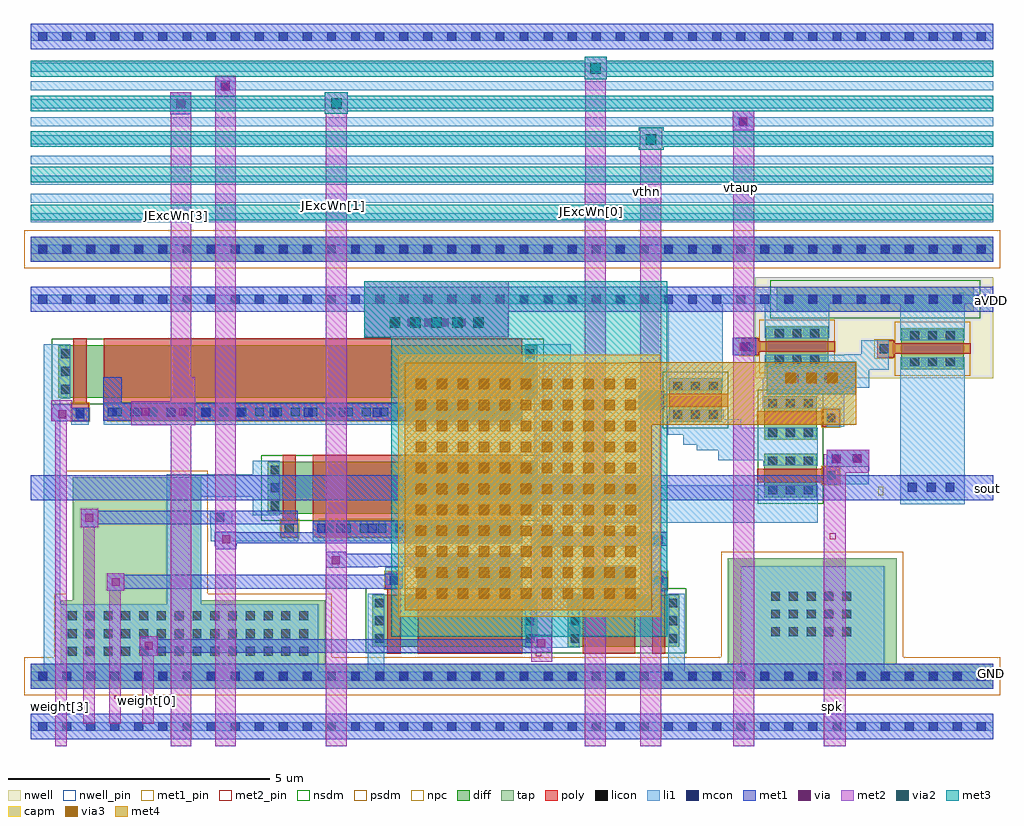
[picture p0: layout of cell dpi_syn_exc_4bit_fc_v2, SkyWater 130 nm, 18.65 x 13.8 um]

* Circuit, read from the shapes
.subckt dpi_syn_exc_4bit_fc_v2 GND JExcWn[0] JExcWn[1] JExcWn[2] JExcWn[3] aVDD sout spk vtaup vthn weight[0] weight[1] weight[2] weight[3]
XM1 n1 weight[3] GND GND sky130_fd_pr__nfet_01v8 w=1 l=0.25
XM2 n2 JExcWn[3] n1 GND sky130_fd_pr__nfet_01v8 w=1 l=8
XM3 n3 weight[2] GND GND sky130_fd_pr__nfet_01v8 w=1 l=0.25
XM4 n2 JExcWn[2] n3 GND sky130_fd_pr__nfet_01v8 w=1 l=4
XM5 n4 weight[1] GND GND sky130_fd_pr__nfet_01v8 w=1 l=0.25
XM6 n2 JExcWn[1] n4 GND sky130_fd_pr__nfet_01v8 w=1 l=2
XM7 n5 JExcWn[0] n2 GND sky130_fd_pr__nfet_01v8 w=1 l=1
XM8 GND weight[0] n5 GND sky130_fd_pr__nfet_01v8 w=1 l=0.25
XM9 aVDD vthn n6 GND sky130_fd_pr__nfet_01v8 w=1 l=0.25
XM10 n6 spk n2 GND sky130_fd_pr__nfet_01v8 w=1 l=0.25
XM11 n7 n7 n6 GND sky130_fd_pr__nfet_01v8 w=1 l=0.25
XM12 aVDD vtaup n7 aVDD sky130_fd_pr__pfet_01v8 w=1.2 l=0.2
XM13 aVDD n7 sout aVDD sky130_fd_pr__pfet_01v8 w=1.2 l=0.2
XC14 n7 aVDD sky130_fd_pr__cap_mim_m3_1 w=5 l=5
.ends

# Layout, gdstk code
import gdstk
lib = gdstk.Library(unit=1e-6, precision=1e-09)
def R(c, l, rs):  # rectangles x0, y0, x1, y1
    for r in rs: c.add(gdstk.rectangle(r[:2], r[2:], *l))
def A(c, l, x, y, w, h, nx, ny, dx, dy):  # array of equal rectangles
    R(c, l, [(x+i*dx, y+j*dy, x+i*dx+w, y+j*dy+h) for i in range(nx) for j in range(ny)])
nwell_pin = (64, 16)
nwell = (64, 20)
diff = (65, 20)
tap = (65, 44)
poly = (66, 20)
licon = (66, 44)
li1 = (67, 20)
mcon = (67, 44)
met1_pin = (68, 16)
met1 = (68, 20)
via = (68, 44)
met2_pin = (69, 16)
met2 = (69, 20)
via2 = (69, 44)
met3 = (70, 20)
via3 = (70, 44)
met4 = (71, 20)
capm = (89, 44)
nsdm = (93, 44)
psdm = (94, 20)
npc = (95, 20)

dpi_syn_exc_4bit_fc_v2_n = lib.new_cell('dpi_syn_exc_4bit_fc_v2_norail')
R(dpi_syn_exc_4bit_fc_v2_n, nwell_pin, [(77.765,-40,77.855,-39.835)])
R(dpi_syn_exc_4bit_fc_v2_n, nwell, [(73.87,-41.475,78.42,-39.545)])
R(dpi_syn_exc_4bit_fc_v2_n, diff, [(66.55,-46.605,69.705,-45.605), (70.285,-46.605,72.42,-45.605), (64.55,-44.065,69.705,-43.065), (74.04,-43.745,75.04,-42.915), (74.04,-42.645,75.04,-41.815), (72.225,-42.305,73.225,-41.475), (60.55,-41.84,69.705,-40.84), (76.655,-41.295,77.855,-40.515), (74.065,-41.255,75.265,-40.475)])
R(dpi_syn_exc_4bit_fc_v2_n, tap, [(60.02,-47.405,78.42,-46.925), (60.6,-46.925,65.65,-45.715), (73.345,-46.925,76.57,-44.91), (60.83,-45.715,63.285,-43.365), (74.28,-40.2,78.045,-39.725)])
R(dpi_syn_exc_4bit_fc_v2_n, poly, [(66.84,-46.735,67.09,-45.495), (67.415,-46.735,69.415,-45.165), (70.575,-46.735,71.575,-45.165), (71.9,-46.735,72.15,-45.495), (66.8,-45.495,67.13,-45.165), (71.86,-45.495,72.19,-45.165), (64.8,-44.505,65.13,-44.175), (65.415,-44.505,69.415,-42.935), (64.84,-44.175,65.09,-42.935), (75.15,-43.495,75.48,-43.455), (73.91,-43.455,75.48,-43.205), (75.15,-43.205,75.48,-43.165), (75.15,-42.395,75.48,-42.355), (73.91,-42.355,75.48,-42.105), (60.8,-42.28,61.13,-41.95), (61.415,-42.28,69.415,-40.71), (75.15,-42.105,75.48,-42.065), (71.785,-42.055,72.115,-42.015), (71.785,-42.015,73.355,-41.765), (60.84,-41.95,61.09,-40.71), (71.785,-41.765,72.115,-41.725), (76.195,-41.075,76.525,-41.005), (73.605,-41.035,73.935,-40.965), (76.195,-41.005,77.985,-40.805), (73.605,-40.965,75.395,-40.765), (76.195,-40.805,76.525,-40.745), (73.605,-40.765,73.935,-40.705)])
A(dpi_syn_exc_4bit_fc_v2_n, licon, 60.165, -47.25, 0.17, 0.17, 40, 1, 0.46, 0)
A(dpi_syn_exc_4bit_fc_v2_n, licon, 60.735, -46.775, 0.17, 0.17, 14, 3, 0.34, 0.34)
A(dpi_syn_exc_4bit_fc_v2_n, licon, 66.61, -46.53, 0.17, 0.17, 1, 3, 0, 0.34)
A(dpi_syn_exc_4bit_fc_v2_n, licon, 69.475, -46.53, 0.17, 0.17, 1, 3, 0, 0.34)
A(dpi_syn_exc_4bit_fc_v2_n, licon, 70.345, -46.53, 0.17, 0.17, 1, 3, 0, 0.34)
A(dpi_syn_exc_4bit_fc_v2_n, licon, 72.21, -46.53, 0.17, 0.17, 1, 3, 0, 0.34)
A(dpi_syn_exc_4bit_fc_v2_n, licon, 74.17, -46.4, 0.17, 0.17, 5, 3, 0.34, 0.34)
A(dpi_syn_exc_4bit_fc_v2_n, licon, 67.65, -45.415, 0.17, 0.17, 5, 1, 0.34, 0)
A(dpi_syn_exc_4bit_fc_v2_n, licon, 65.63, -44.425, 0.17, 0.17, 11, 1, 0.34, 0)
A(dpi_syn_exc_4bit_fc_v2_n, licon, 64.61, -43.99, 0.17, 0.17, 1, 3, 0, 0.34)
A(dpi_syn_exc_4bit_fc_v2_n, licon, 69.475, -43.99, 0.17, 0.17, 1, 3, 0, 0.34)
A(dpi_syn_exc_4bit_fc_v2_n, licon, 74.115, -43.685, 0.17, 0.17, 3, 2, 0.34, 0.54)
A(dpi_syn_exc_4bit_fc_v2_n, licon, 74.115, -42.585, 0.17, 0.17, 3, 2, 0.34, 0.54)
A(dpi_syn_exc_4bit_fc_v2_n, licon, 72.3, -42.245, 0.17, 0.17, 3, 2, 0.34, 0.54)
A(dpi_syn_exc_4bit_fc_v2_n, licon, 61.59, -42.2, 0.17, 0.17, 23, 1, 0.34, 0)
A(dpi_syn_exc_4bit_fc_v2_n, licon, 60.61, -41.765, 0.17, 0.17, 1, 3, 0, 0.34)
A(dpi_syn_exc_4bit_fc_v2_n, licon, 69.475, -41.765, 0.17, 0.17, 1, 3, 0, 0.34)
A(dpi_syn_exc_4bit_fc_v2_n, licon, 76.83, -41.235, 0.17, 0.17, 3, 2, 0.34, 0.49)
A(dpi_syn_exc_4bit_fc_v2_n, licon, 74.24, -41.195, 0.17, 0.17, 3, 2, 0.34, 0.49)
A(dpi_syn_exc_4bit_fc_v2_n, licon, 74.425, -40.05, 0.17, 0.17, 8, 1, 0.46, 0)
R(dpi_syn_exc_4bit_fc_v2_n, licon, [(66.88,-45.415,67.05,-45.245), (70.82,-45.415,70.99,-45.245), (71.16,-45.415,71.33,-45.245), (71.94,-45.415,72.11,-45.245), (64.88,-44.425,65.05,-44.255), (75.23,-43.415,75.4,-43.245), (75.23,-42.315,75.4,-42.145), (60.88,-42.2,61.05,-42.03), (71.865,-41.975,72.035,-41.805), (76.245,-40.995,76.415,-40.825), (73.655,-40.955,73.825,-40.785)])
R(dpi_syn_exc_4bit_fc_v2_n, li1, [(60.02,-48.21,78.42,-48.04), (60.02,-47.25,78.42,-47.08), (60.275,-47.08,65.515,-45.785), (66.465,-47.08,66.78,-45.585), (72.21,-47.08,72.525,-45.585), (73.595,-47.08,76.335,-45.06), (69.475,-46.625,70.515,-45.585), (60.275,-45.785,60.59,-41.86), (62.625,-45.785,63.28,-43.735), (69.645,-45.585,70.345,-44.23), (67.415,-45.49,69.265,-45.415), (70.56,-45.42,71.585,-45.05), (66.8,-45.415,67.13,-45.085), (67.415,-45.415,69.415,-44.83), (71.86,-45.415,72.19,-45.33), (71.855,-45.33,72.19,-44.405), (69.2,-44.83,69.415,-44.825), (63.46,-44.585,65.135,-44.33), (65.415,-44.585,69.415,-44.255), (63.455,-44.33,65.135,-44.255), (63.455,-44.255,63.87,-44.005), (65.415,-44.255,69.335,-44.19), (69.645,-44.23,75.06,-44.085), (64.265,-44.085,64.78,-43.735), (69.475,-44.085,75.06,-43.515), (76.635,-43.88,77.875,-41.065), (62.625,-43.735,64.78,-43.31), (69.475,-43.515,70.345,-43.045), (75.23,-43.495,76.04,-43.25), (62.625,-43.31,63.045,-43.305), (64.265,-43.31,64.78,-43.045), (75.23,-43.25,76.045,-42.84), (74.02,-43.145,75.06,-43.04), (69.645,-43.045,70.345,-41.86), (73.165,-43.04,75.06,-42.845), (72.75,-42.845,75.06,-42.74), (72.495,-42.74,75.06,-42.55), (72.2,-42.55,75.06,-42.42), (72.2,-42.42,73.605,-42.25), (74.02,-42.42,75.06,-42.415), (75.23,-42.395,75.57,-42.045), (60.8,-42.36,61.13,-42.03), (61.415,-42.36,69.415,-42.285), (61.41,-42.285,69.415,-42.03), (72.2,-42.25,73.27,-42.185), (72.205,-42.185,73.27,-42.075), (71.64,-42.06,72.035,-41.725), (74.015,-42.045,75.57,-41.65), (61.41,-42.03,69.3,-41.94), (60.275,-41.86,60.78,-40.82), (69.475,-41.86,70.345,-40.82), (72.205,-41.705,73.245,-40.05), (74.015,-41.65,76.05,-41.46), (74.045,-41.46,76.05,-41.31), (74.045,-41.31,76.415,-41.025), (73.44,-41.035,73.845,-40.7), (75.58,-41.025,76.415,-41.015), (75.895,-41.015,76.415,-40.745), (76.635,-40.745,77.875,-40.05), (74.045,-40.705,75.285,-40.05), (60.02,-40.05,78.42,-39.88)])
A(dpi_syn_exc_4bit_fc_v2_n, mcon, 60.165, -48.21, 0.17, 0.17, 40, 2, 0.46, 0.96)
A(dpi_syn_exc_4bit_fc_v2_n, mcon, 67.52, -45.05, 0.17, 0.17, 4, 1, 0.485, 0)
A(dpi_syn_exc_4bit_fc_v2_n, mcon, 66.465, -44.425, 0.17, 0.17, 5, 1, 0.6, 0)
A(dpi_syn_exc_4bit_fc_v2_n, mcon, 76.785, -43.64, 0.17, 0.17, 3, 1, 0.36, 0)
A(dpi_syn_exc_4bit_fc_v2_n, mcon, 62.625, -42.205, 0.17, 0.17, 5, 1, 0.655, 0)
A(dpi_syn_exc_4bit_fc_v2_n, mcon, 65.905, -42.205, 0.17, 0.17, 5, 1, 0.655, 0)
A(dpi_syn_exc_4bit_fc_v2_n, mcon, 74.495, -41.555, 0.17, 0.17, 3, 1, 0.36, 0)
A(dpi_syn_exc_4bit_fc_v2_n, mcon, 60.165, -40.05, 0.17, 0.17, 40, 1, 0.46, 0)
R(dpi_syn_exc_4bit_fc_v2_n, mcon, [(66.88,-45.415,67.05,-45.245), (67.495,-45.415,67.665,-45.245), (67.905,-45.415,68.075,-45.245), (68.39,-45.415,68.56,-45.245), (68.975,-45.415,69.145,-45.245), (70.655,-45.385,70.825,-45.215), (71.33,-45.385,71.5,-45.215), (71.93,-44.64,72.1,-44.47), (65.495,-44.425,65.665,-44.255), (65.86,-44.425,66.03,-44.255), (63.55,-44.21,63.72,-44.04), (75.33,-43.095,75.5,-42.925), (75.725,-43.09,75.895,-42.92), (60.88,-42.24,61.05,-42.07), (61.495,-42.2,61.665,-42.03), (61.97,-42.2,62.14,-42.03), (69.005,-42.2,69.175,-42.03), (71.76,-41.975,71.93,-41.805), (73.6,-40.955,73.77,-40.785)])
R(dpi_syn_exc_4bit_fc_v2_n, met1_pin, [(76.8,-47.175,76.89,-47.01), (76.22,-43.705,76.31,-43.54)])
R(dpi_syn_exc_4bit_fc_v2_n, met1, [(60.02,-48.365,78.42,-47.885), (60.02,-47.405,78.42,-46.925), (62.11,-46.77,62.455,-46.715), (62.11,-46.715,69.79,-46.705), (62.11,-46.705,69.98,-46.455), (62.11,-46.455,62.455,-46.405), (69.585,-46.455,69.98,-46.37), (71.86,-45.545,72.2,-45.285), (61.48,-45.53,61.815,-45.49), (67.415,-45.495,69.415,-45.085), (61.48,-45.49,67.13,-45.42), (61.48,-45.42,67.135,-45.23), (70.56,-45.42,71.585,-45.05), (61.48,-45.23,61.815,-45.195), (66.79,-45.23,67.135,-45.21), (65.665,-45.09,66.055,-45.085), (65.66,-45.085,66.65,-45.07), (67.275,-45.085,69.43,-45.07), (65.66,-45.07,69.43,-44.825), (65.665,-44.825,66.055,-44.79), (63.545,-44.74,63.955,-44.675), (69.59,-44.71,69.995,-44.68), (69.585,-44.68,71.45,-44.675), (63.54,-44.675,63.965,-44.625), (69.585,-44.675,72.19,-44.42), (63.54,-44.625,69.42,-44.415), (69.59,-44.42,69.995,-44.37), (70.325,-44.42,72.19,-44.415), (63.545,-44.415,63.955,-44.405), (65.415,-44.415,69.415,-44.19), (60.975,-44.315,61.315,-44.265), (60.975,-44.265,65.13,-44.005), (60.975,-44.005,61.315,-43.965), (72.475,-43.805,76.16,-43.8), (60.02,-43.8,78.42,-43.325), (75.23,-43.165,76.045,-42.84), (60.425,-42.29,61.145,-42.03), (61.41,-42.285,69.415,-41.94), (71.675,-42.06,72.115,-41.72), (60.455,-42.03,60.8,-41.965), (61.41,-41.94,61.765,-41.455), (74.085,-41.775,75.795,-41.16), (73.44,-41.035,73.89,-40.7), (66.395,-40.685,69.15,-40.205), (60.02,-40.205,78.42,-39.725)])
A(dpi_syn_exc_4bit_fc_v2_n, via, 74.545, -41.545, 0.15, 0.15, 3, 1, 0.32, 0)
A(dpi_syn_exc_4bit_fc_v2_n, via, 66.905, -40.48, 0.15, 0.15, 6, 1, 0.32, 0)
R(dpi_syn_exc_4bit_fc_v2_n, via, [(62.205,-46.655,62.355,-46.505), (69.705,-46.61,69.855,-46.46), (61.57,-45.44,61.72,-45.29), (70.71,-45.335,70.86,-45.185), (65.78,-45.025,65.93,-44.875), (69.73,-44.63,69.88,-44.48), (63.685,-44.625,63.835,-44.475), (61.065,-44.21,61.215,-44.06), (75.345,-43.09,75.495,-42.94), (75.755,-43.085,75.905,-42.935), (60.55,-42.235,60.7,-42.085), (62.85,-42.19,63,-42.04), (62.145,-42.185,62.295,-42.035), (71.785,-41.965,71.935,-41.815), (73.575,-40.95,73.725,-40.8)])
R(dpi_syn_exc_4bit_fc_v2_n, met2_pin, [(61.615,-47.6,61.66,-47.54), (69.675,-46.785,69.775,-46.695), (75.29,-44.55,75.405,-44.435), (61.12,-44.16,61.145,-44.14), (60.665,-42.245,60.68,-42.19)])
R(dpi_syn_exc_4bit_fc_v2_n, met2, [(60.495,-48.4,60.715,-42.29), (62.695,-48.4,63.095,-42.37), (63.545,-48.4,63.945,-39.48), (65.665,-48.4,66.065,-39.48), (70.61,-48.4,71.01,-39.48), (71.675,-48.4,72.075,-39.48), (73.445,-48.4,73.845,-39.48), (75.175,-48.4,75.595,-43.28), (61.025,-48.07,61.245,-44.315), (61.525,-48.07,61.745,-45.53), (62.15,-48.07,62.37,-46.77), (69.59,-46.89,69.99,-44.275), (62.11,-46.77,62.455,-46.405), (61.48,-45.53,61.815,-45.195), (60.975,-44.315,61.315,-43.965), (75.175,-43.28,76.04,-43.165), (75.175,-43.165,76.045,-42.925), (75.23,-42.925,76.045,-42.84), (61.945,-42.37,63.17,-41.91), (60.42,-42.29,60.82,-41.895), (62.695,-41.91,63.17,-41.455), (74.085,-41.775,75.795,-41.16), (62.695,-41.455,63.095,-39.48), (66.4,-40.69,69.16,-39.62)])
A(dpi_syn_exc_4bit_fc_v2_n, via2, 74.44, -41.57, 0.2, 0.2, 3, 1, 0.4, 0)
A(dpi_syn_exc_4bit_fc_v2_n, via2, 66.88, -40.505, 0.2, 0.2, 5, 1, 0.4, 0)
R(dpi_syn_exc_4bit_fc_v2_n, met3, [(66.91,-46.415,72.19,-40.7), (74.085,-41.775,75.795,-41.16), (66.395,-40.7,72.19,-40.595), (66.395,-40.595,72.185,-39.62)])
A(dpi_syn_exc_4bit_fc_v2_n, via3, 67.385, -45.685, 0.2, 0.2, 11, 11, 0.4, 0.4)
A(dpi_syn_exc_4bit_fc_v2_n, via3, 74.44, -41.57, 0.2, 0.2, 3, 1, 0.4, 0)
R(dpi_syn_exc_4bit_fc_v2_n, met4, [(67.17,-45.9,71.895,-42.36), (67.17,-42.36,75.795,-41.175), (71.455,-41.175,75.795,-41.165)])
R(dpi_syn_exc_4bit_fc_v2_n, capm, [(67.05,-46.025,72.05,-41.025)])
R(dpi_syn_exc_4bit_fc_v2_n, nsdm, [(66.425,-46.73,72.545,-45.48), (64.425,-44.19,69.83,-42.94), (73.915,-43.87,75.165,-41.69), (72.1,-42.43,73.35,-41.35), (60.425,-41.965,69.83,-40.715), (74.155,-40.325,78.17,-39.6)])
R(dpi_syn_exc_4bit_fc_v2_n, psdm, [(59.895,-47.53,78.545,-46.8), (60.475,-46.8,65.775,-45.59), (73.22,-46.8,76.695,-44.785), (60.705,-45.59,63.41,-43.24), (76.53,-41.42,77.98,-40.39), (73.94,-41.38,75.39,-40.35)])
R(dpi_syn_exc_4bit_fc_v2_n, npc, [(66.78,-45.515,67.15,-45.145), (67.55,-45.515,69.28,-45.145), (70.72,-45.515,71.43,-45.145), (71.84,-45.515,72.21,-45.145), (64.78,-44.525,65.15,-44.155), (65.53,-44.525,69.3,-44.155), (75.13,-43.515,75.5,-43.145), (75.13,-42.415,75.5,-42.045), (60.78,-42.3,61.15,-41.93), (61.49,-42.3,69.34,-41.93), (71.765,-42.075,72.135,-41.705), (76.145,-41.095,76.515,-40.725), (73.555,-41.055,73.925,-40.685)])
dpi_syn_exc_4bit_fc_v2_n.add(gdstk.Label('GND', (76.845,-47.092), layer=68, texttype=5))
dpi_syn_exc_4bit_fc_v2_n.add(gdstk.Label('sout', (76.265,-43.622), layer=68, texttype=5))
dpi_syn_exc_4bit_fc_v2_n.add(gdstk.Label('aVDD', (77.81,-39.917), layer=64, texttype=5))
dpi_syn_exc_4bit_fc_v2_n.add(gdstk.Label('spk', (75.347,-44.492), layer=69, texttype=5))
dpi_syn_exc_4bit_fc_v2_n.add(gdstk.Label('weight[0]', (69.725,-46.74), layer=69, texttype=5))
dpi_syn_exc_4bit_fc_v2_n.add(gdstk.Label('weight[3]', (60.672,-42.217), layer=69, texttype=5))
dpi_syn_exc_4bit_fc_v2_n.add(gdstk.Label('weight[2]', (61.132,-44.15), layer=69, texttype=5))
dpi_syn_exc_4bit_fc_v2_n.add(gdstk.Label('weight[1]', (61.637,-47.57), layer=69, texttype=5))

dpi_syn_exc_4bit_fc_v2 = lib.new_cell('dpi_syn_exc_4bit_fc_v2')
R(dpi_syn_exc_4bit_fc_v2, nwell, [(78.055,-41.475,78.42,-39.545)])
R(dpi_syn_exc_4bit_fc_v2, tap, [(60.02,-47.405,60.03,-46.925), (78.055,-47.405,78.42,-46.925), (60.02,-39.245,78.42,-38.765)])
A(dpi_syn_exc_4bit_fc_v2, licon, 60.165, -39.09, 0.17, 0.17, 40, 1, 0.46, 0)
R(dpi_syn_exc_4bit_fc_v2, licon, [(78.105,-47.25,78.275,-47.08)])
A(dpi_syn_exc_4bit_fc_v2, li1, 60.02, -37.77, 18.4, 0.17, 1, 3, 0, 0.385)
A(dpi_syn_exc_4bit_fc_v2, li1, 60.02, -36.655, 18.4, 0.17, 1, 3, 0, 0.345)
R(dpi_syn_exc_4bit_fc_v2, li1, [(60.02,-48.21,78.42,-48.04), (60.02,-47.25,60.03,-47.08), (78.055,-47.25,78.42,-47.08), (60.02,-40.05,60.04,-39.88), (78.055,-40.05,78.42,-39.88), (60.02,-39.09,78.42,-38.92), (60.02,-38.49,78.42,-38.32), (60.02,-38.12,78.42,-37.95), (73.55,-36.66,73.72,-36.655), (71.805,-36.315,71.975,-36.31), (63.655,-35.795,63.825,-35.79), (60.02,-35.61,78.42,-35.44), (60.02,-35.025,78.42,-34.855)])
A(dpi_syn_exc_4bit_fc_v2, mcon, 60.165, -48.21, 0.17, 0.17, 40, 2, 0.46, 9.12)
A(dpi_syn_exc_4bit_fc_v2, mcon, 60.165, -35.025, 0.17, 0.17, 40, 1, 0.46, 0)
R(dpi_syn_exc_4bit_fc_v2, mcon, [(78.105,-47.25,78.275,-47.08), (78.105,-40.05,78.275,-39.88), (73.55,-36.66,73.72,-36.49), (62.805,-36.31,62.975,-36.14), (63.655,-35.96,63.825,-35.79)])
R(dpi_syn_exc_4bit_fc_v2, met1_pin, [(78.355,-47.15,78.41,-47.095), (78.275,-43.605,78.33,-43.55), (78.355,-40.005,78.41,-39.95)])
R(dpi_syn_exc_4bit_fc_v2, met1, [(60.02,-48.365,78.42,-47.885), (60.02,-47.405,60.03,-46.925), (78.055,-47.405,78.42,-46.925), (60.02,-43.8,60.03,-43.325), (78.055,-43.8,78.42,-43.325), (60.02,-40.205,60.04,-39.725), (78.055,-40.2,78.42,-39.73), (60.02,-39.245,78.42,-38.765), (73.44,-36.73,73.845,-36.355), (62.69,-36.425,63.095,-36.01), (63.545,-36.095,63.945,-35.695), (60.02,-35.18,78.42,-34.7)])
R(dpi_syn_exc_4bit_fc_v2, via, [(73.57,-36.63,73.72,-36.48), (62.815,-36.295,62.965,-36.145), (63.67,-35.975,63.82,-35.825)])
R(dpi_syn_exc_4bit_fc_v2, met2_pin, [(60.57,-47.78,60.625,-47.725), (75.325,-47.77,75.38,-47.715), (61.095,-47.685,61.15,-47.63), (62.225,-47.65,62.28,-47.595), (61.615,-47.6,61.66,-47.54), (62.8,-38.4,62.83,-38.315), (70.74,-38.32,70.745,-38.26), (63.635,-38.23,63.685,-38.21), (65.78,-38.18,65.83,-38.15), (71.75,-37.925,71.825,-37.875), (73.57,-37.84,73.64,-37.81)])
R(dpi_syn_exc_4bit_fc_v2, met2, [(60.495,-48.5,60.715,-47.405), (62.695,-48.5,63.095,-47.405), (63.545,-48.5,63.945,-47.405), (65.665,-48.5,66.065,-47.405), (70.61,-48.5,71.01,-47.405), (71.675,-48.5,72.075,-47.405), (73.445,-48.5,73.845,-47.405), (75.175,-48.5,75.595,-47.405), (61.025,-48.07,61.245,-47.405), (61.525,-48.07,61.745,-47.405), (62.15,-48.07,62.37,-47.405), (62.695,-39.545,63.095,-36.425), (63.545,-39.545,63.945,-35.695), (65.665,-39.545,66.065,-36.415), (70.61,-39.545,71.01,-37.92), (71.675,-39.545,72.075,-37.065), (73.445,-39.545,73.845,-36.73), (70.61,-37.92,71.015,-37.755), (70.615,-37.755,71.015,-35.76), (71.66,-37.065,72.09,-36.685), (73.44,-36.73,73.845,-36.355), (62.69,-36.425,63.095,-36.01), (65.645,-36.415,66.085,-36.005), (70.61,-35.76,71.03,-35.33)])
R(dpi_syn_exc_4bit_fc_v2, via2, [(71.775,-37.005,71.975,-36.805), (65.765,-36.32,65.965,-36.12), (70.715,-35.65,70.915,-35.45)])
R(dpi_syn_exc_4bit_fc_v2, met3, [(60.02,-38.455,78.42,-38.155), (60.02,-37.725,78.42,-37.425), (71.645,-37.105,72.115,-37.05), (60.02,-37.05,78.42,-36.75), (71.645,-36.75,72.115,-36.67), (65.645,-36.415,66.085,-36.37), (60.02,-36.37,78.42,-36.07), (65.645,-36.07,66.085,-36.005), (70.61,-35.76,71.03,-35.705), (60.02,-35.705,78.42,-35.405), (70.61,-35.405,71.03,-35.33)])
R(dpi_syn_exc_4bit_fc_v2, psdm, [(59.895,-47.53,60.155,-46.8), (77.93,-47.53,78.545,-46.8), (59.895,-39.37,78.545,-38.64)])
dpi_syn_exc_4bit_fc_v2.add(gdstk.Reference(dpi_syn_exc_4bit_fc_v2_n, (0,0)))
dpi_syn_exc_4bit_fc_v2.add(gdstk.Label('GND', (78.382,-47.122), layer=68, texttype=5))
dpi_syn_exc_4bit_fc_v2.add(gdstk.Label('spk', (75.352,-47.742), layer=69, texttype=5))
dpi_syn_exc_4bit_fc_v2.add(gdstk.Label('sout', (78.302,-43.577), layer=68, texttype=5))
dpi_syn_exc_4bit_fc_v2.add(gdstk.Label('weight[0]', (62.252,-47.622), layer=69, texttype=5))
dpi_syn_exc_4bit_fc_v2.add(gdstk.Label('weight[2]', (61.122,-47.657), layer=69, texttype=5))
dpi_syn_exc_4bit_fc_v2.add(gdstk.Label('weight[3]', (60.597,-47.752), layer=69, texttype=5))
dpi_syn_exc_4bit_fc_v2.add(gdstk.Label('aVDD', (78.382,-39.977), layer=68, texttype=5))
dpi_syn_exc_4bit_fc_v2.add(gdstk.Label('JExcWn[3]', (62.815,-38.357), layer=69, texttype=5))
dpi_syn_exc_4bit_fc_v2.add(gdstk.Label('JExcWn[2]', (63.66,-38.22), layer=69, texttype=5))
dpi_syn_exc_4bit_fc_v2.add(gdstk.Label('JExcWn[1]', (65.805,-38.165), layer=69, texttype=5))
dpi_syn_exc_4bit_fc_v2.add(gdstk.Label('JExcWn[0]', (70.742,-38.29), layer=69, texttype=5))
dpi_syn_exc_4bit_fc_v2.add(gdstk.Label('vthn', (71.787,-37.9), layer=69, texttype=5))
dpi_syn_exc_4bit_fc_v2.add(gdstk.Label('vtaup', (73.605,-37.825), layer=69, texttype=5))
dpi_syn_exc_4bit_fc_v2.add(gdstk.Label('weight[1]', (61.637,-47.57), layer=69, texttype=5))

lib.write_gds('dpi_syn_exc_4bit_fc_v2.gds')
